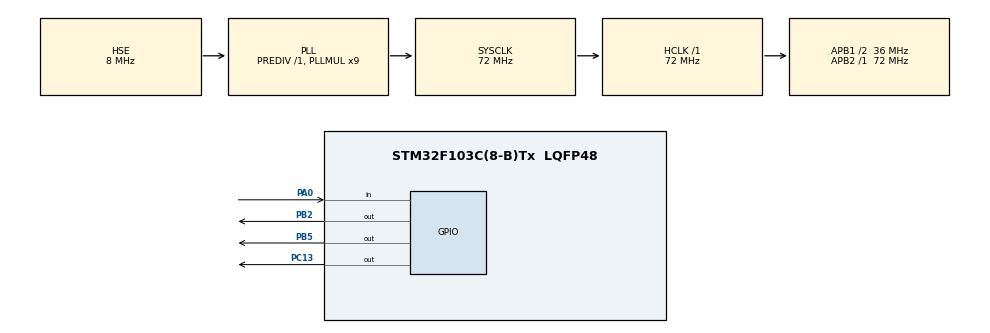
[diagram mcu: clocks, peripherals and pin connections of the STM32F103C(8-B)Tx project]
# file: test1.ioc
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Mcu.Family=STM32F1
Mcu.Name=STM32F103C(8-B)Tx
Mcu.Package=LQFP48
NVIC.PriorityGroup=NVIC_PRIORITYGROUP_4
PA0-WKUP.Signal=GPIO_Input
PA13.Mode=Serial_Wire
PA13.Signal=SYS_JTMS-SWDIO
PA14.Mode=Serial_Wire
PA14.Signal=SYS_JTCK-SWCLK
PB2.Signal=GPIO_Output
PB5.Signal=GPIO_Output
PC13-TAMPER-RTC.Signal=GPIO_Output
PD0-OSC_IN.Mode=HSE-External-Oscillator
PD0-OSC_IN.Signal=RCC_OSC_IN
PD1-OSC_OUT.Mode=HSE-External-Oscillator
PD1-OSC_OUT.Signal=RCC_OSC_OUT
ProjectManager.HeapSize=0x200
ProjectManager.StackSize=0x400
ProjectManager.TargetToolchain=STM32CubeIDE
RCC.AHBFreq_Value=72000000
RCC.APB1CLKDivider=RCC_HCLK_DIV2
RCC.APB1Freq_Value=36000000
RCC.APB1TimFreq_Value=72000000
RCC.APB2Freq_Value=72000000
RCC.APB2TimFreq_Value=72000000
RCC.HCLKFreq_Value=72000000
RCC.PLLMUL=RCC_PLL_MUL9
RCC.PLLSourceVirtual=RCC_PLLSOURCE_HSE
RCC.SYSCLKFreq_VALUE=72000000
RCC.SYSCLKSource=RCC_SYSCLKSOURCE_PLLCLK
RCC.USBFreq_Value=72000000
board=custom

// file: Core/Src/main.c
/* USER CODE BEGIN Header */
/**
  ******************************************************************************
  * @file           : main.c
  * @brief          : Main program body
  ******************************************************************************
  * @attention
  *
  * Copyright (c) 2025 STMicroelectronics.
  * All rights reserved.
  *
  * This software is licensed under terms that can be found in the LICENSE file
  * in the root directory of this software component.
  * If no LICENSE file comes with this software, it is provided AS-IS.
  *
  ******************************************************************************
  */
/* USER CODE END Header */
#include "main.h"

/* USER CODE BEGIN Includes */

#include <stdio.h>
#include "diag/Trace.h"
/* USER CODE END Includes */

/* USER CODE BEGIN PV */
extern void initialise_monitor_handles(void);
/* USER CODE END PV */

void SystemClock_Config(void);
static void MX_GPIO_Init(void);
/* USER CODE BEGIN PFP */
uint8_t cnt = 0;
/* USER CODE END PFP */

/* USER CODE BEGIN 0 */
void PINA_0_INIT(void) //Button PA0
{
  RCC->APB2ENR |= RCC_APB2ENR_IOPAEN;
  GPIOA->CRL &= ~GPIO_CRL_MODE0_0;
  GPIOA->CRL &= ~GPIO_CRL_MODE0_1;
  GPIOA->CRL &= ~GPIO_CRL_CNF0_0;
  GPIOA->CRL |= GPIO_CRL_CNF0_1;
}
/* USER CODE END 0 */

int main(void)
{

  /* USER CODE BEGIN 1 */
	initialise_monitor_handles();
	uint32_t delay = 500;
	uint8_t buttonState = 0;
	GPIO_PinState pinState;
	char msg[] = "Hello STM32 lovers!\n";
  /* USER CODE END 1 */

  /* MCU Configuration--------------------------------------------------------*/

  /* Reset of all peripherals, Initializes the Flash interface and the Systick. */
  HAL_Init();

  /* Configure the system clock */
  SystemClock_Config();

  /* Initialize all configured peripherals */
  MX_GPIO_Init();
  /* USER CODE BEGIN 2 */
  PINA_0_INIT();
  /* USER CODE END 2 */

  /* Infinite loop */
  /* USER CODE BEGIN WHILE */
  trace_printf("Semihosting is working!\n\r");
  asm volatile (
   " mov r0, 0x4 \n"
   " mov r1, %[msg] \n"
   " bkpt #0xAB"
   :
   : [msg] "r" (msg)
   : "r0", "r1"

  );
  while (1)
  {
    /* USER CODE END WHILE */

    /* USER CODE BEGIN 3 */
	//мигание светодиодом на плате, при нажатии на кнопку мигают еще 2 yf PC13 и PB5
	pinState = HAL_GPIO_ReadPin(GPIOA, GPIO_PIN_0); // так и так
	//pinState = READ_BIT(GPIOA->IDR, GPIO_IDR_IDR0);
    if (pinState == GPIO_PIN_SET){
		buttonState = 1;
	} else {
		buttonState = 0;
	}
	HAL_GPIO_WritePin(GPIOB, GPIO_PIN_2, GPIO_PIN_SET);
	if (buttonState){
		HAL_GPIO_WritePin(GPIOC, GPIO_PIN_13, GPIO_PIN_SET);
		HAL_GPIO_WritePin(GPIOB, GPIO_PIN_5, GPIO_PIN_SET);
	}
    HAL_Delay(delay);
	HAL_GPIO_WritePin(GPIOB, GPIO_PIN_2, GPIO_PIN_RESET);
	HAL_GPIO_WritePin(GPIOC, GPIO_PIN_13, GPIO_PIN_RESET);
	HAL_GPIO_WritePin(GPIOB, GPIO_PIN_5, GPIO_PIN_RESET);
	HAL_Delay(delay);
	trace_printf("buttonState=%d\n\r", buttonState);
	cnt++;

  }
  /* USER CODE END 3 */
}

void SystemClock_Config(void)
{
  RCC_OscInitTypeDef RCC_OscInitStruct = {0};
  RCC_ClkInitTypeDef RCC_ClkInitStruct = {0};

  /** Initializes the RCC Oscillators according to the specified parameters
  * in the RCC_OscInitTypeDef structure.
  */
  RCC_OscInitStruct.OscillatorType = RCC_OSCILLATORTYPE_HSE;
  RCC_OscInitStruct.HSEState = RCC_HSE_ON;
  RCC_OscInitStruct.HSEPredivValue = RCC_HSE_PREDIV_DIV1;
  RCC_OscInitStruct.HSIState = RCC_HSI_ON;
  RCC_OscInitStruct.PLL.PLLState = RCC_PLL_ON;
  RCC_OscInitStruct.PLL.PLLSource = RCC_PLLSOURCE_HSE;
  RCC_OscInitStruct.PLL.PLLMUL = RCC_PLL_MUL9;
  if (HAL_RCC_OscConfig(&RCC_OscInitStruct) != HAL_OK)
  {
    Error_Handler();
  }

  /** Initializes the CPU, AHB and APB buses clocks
  */
  RCC_ClkInitStruct.ClockType = RCC_CLOCKTYPE_HCLK|RCC_CLOCKTYPE_SYSCLK
                              |RCC_CLOCKTYPE_PCLK1|RCC_CLOCKTYPE_PCLK2;
  RCC_ClkInitStruct.SYSCLKSource = RCC_SYSCLKSOURCE_PLLCLK;
  RCC_ClkInitStruct.AHBCLKDivider = RCC_SYSCLK_DIV1;
  RCC_ClkInitStruct.APB1CLKDivider = RCC_HCLK_DIV2;
  RCC_ClkInitStruct.APB2CLKDivider = RCC_HCLK_DIV1;

  if (HAL_RCC_ClockConfig(&RCC_ClkInitStruct, FLASH_LATENCY_2) != HAL_OK)
  {
    Error_Handler();
  }
}

static void MX_GPIO_Init(void)
{
  GPIO_InitTypeDef GPIO_InitStruct = {0};

  /* GPIO Ports Clock Enable */
  __HAL_RCC_GPIOC_CLK_ENABLE();
  __HAL_RCC_GPIOD_CLK_ENABLE();
  __HAL_RCC_GPIOA_CLK_ENABLE();
  __HAL_RCC_GPIOB_CLK_ENABLE();

  /*Configure GPIO pin Output Level */
  HAL_GPIO_WritePin(GPIOC, GPIO_PIN_13, GPIO_PIN_RESET);

  /*Configure GPIO pin Output Level */
  HAL_GPIO_WritePin(GPIOB, GPIO_PIN_2|GPIO_PIN_5, GPIO_PIN_RESET);

  /*Configure GPIO pin : PC13 */
  GPIO_InitStruct.Pin = GPIO_PIN_13;
  GPIO_InitStruct.Mode = GPIO_MODE_OUTPUT_PP;
  GPIO_InitStruct.Pull = GPIO_NOPULL;
  GPIO_InitStruct.Speed = GPIO_SPEED_FREQ_LOW;
  HAL_GPIO_Init(GPIOC, &GPIO_InitStruct);

  /*Configure GPIO pin : PA0 */
  GPIO_InitStruct.Pin = GPIO_PIN_0;
  GPIO_InitStruct.Mode = GPIO_MODE_INPUT;
  GPIO_InitStruct.Pull = GPIO_NOPULL;
  GPIO_InitStruct.Speed = GPIO_SPEED_FREQ_LOW;
  HAL_GPIO_Init(GPIOA, &GPIO_InitStruct);

  /*Configure GPIO pins : PB2 PB5 */
  GPIO_InitStruct.Pin = GPIO_PIN_2|GPIO_PIN_5;
  GPIO_InitStruct.Mode = GPIO_MODE_OUTPUT_PP;
  GPIO_InitStruct.Pull = GPIO_NOPULL;
  GPIO_InitStruct.Speed = GPIO_SPEED_FREQ_LOW;
  HAL_GPIO_Init(GPIOB, &GPIO_InitStruct);

}

void Error_Handler(void)
{
  __disable_irq();
  while (1)
  {
  }
}
